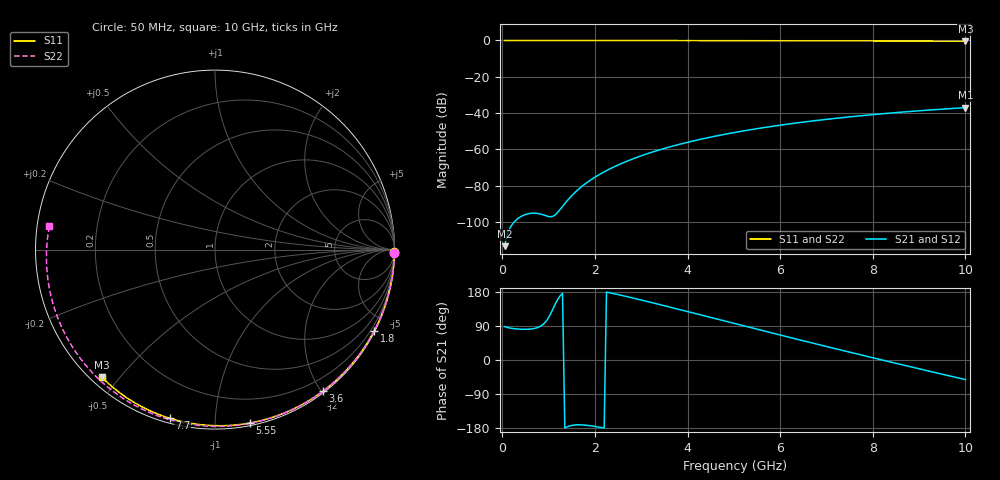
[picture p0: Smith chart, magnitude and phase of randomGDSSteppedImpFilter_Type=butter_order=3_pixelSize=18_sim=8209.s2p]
! freq	dB(S11)	phase(S11)	dB(S12)	phase(S12)
!  dB(S21)	phase(S21)	dB(S22)	phase(S22)
!S-par simulation data
#  GHz  S  DB  R 50
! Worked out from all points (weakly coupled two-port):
!   200 points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, 50 MHz to 10 GHz, reference 50 ohm
!   highest |S21| = -37.02 dB at 10 GHz (marker M1); lowest = -113.3 dB at 50 MHz (marker M2)
!   lowest |S11| = -0.4 dB at 10 GHz (marker M3), VSWR 39.09, Z = 1.54 - j22.5 ohm
!   |S11| at or under -10 dB: nowhere
!   |S22| runs from -0.6 to 0.0 dB; largest |S21 - S12| = 0
!   S11 on the Smith chart (normalised r, x): 50 MHz: open; 1.8 GHz: 0.04, -4.17; 3.6 GHz: 0.02, -2.02; 5.55 GHz: 0.02, -1.22; 7.7 GHz: 0.02, -0.77; 10 GHz: 0.03, -0.45
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0.05  -0.00 -0.8  -113.32 88.0  -113.32 88.0  -0.00 -1.1
0.45  -0.01 -6.8  -96.39 81.0  -96.39 81.0  -0.01 -9.5
0.85  -0.02 -12.9  -95.79 91.1  -95.79 91.1  -0.02 -17.8
1.25  -0.02 -18.8  -93.07 169.4  -93.07 169.4  -0.03 -26.0
1.7  -0.03 -25.5  -80.79 -171.2  -80.79 -171.2  -0.04 -35.2
1.75  -0.03 -26.2  -79.77 -171.5  -79.77 -171.5  -0.05 -36.2
1.8  -0.03 -26.9  -78.80 -172.0  -78.80 -172.0  -0.05 -37.2
2.1  -0.04 -31.3  -73.80 -177.3  -73.80 -177.3  -0.06 -43.2
2.5  -0.05 -37.1  -68.60 172.6  -68.60 172.6  -0.07 -51.2
2.9  -0.06 -42.9  -64.45 161.3  -64.45 161.3  -0.08 -59.0
3.4  -0.07 -49.9  -60.22 146.3  -60.22 146.3  -0.09 -68.6
3.6  -0.07 -52.7  -58.75 140.1  -58.75 140.1  -0.10 -72.3
4.3  -0.09 -62.3  -54.33 118.4  -54.33 118.4  -0.12 -85.3
5.05  -0.11 -72.2  -50.53 95.2  -50.53 95.2  -0.15 -98.9
5.55  -0.13 -78.7  -48.39 79.7  -48.39 79.7  -0.18 -107.7
6.1  -0.15 -85.7  -46.32 62.8  -46.32 62.8  -0.21 -117.3
6.7  -0.18 -93.1  -44.35 44.6  -44.35 44.6  -0.25 -127.7
7.7  -0.24 -105.1  -41.57 14.7  -41.57 14.7  -0.33 -145.1
8.35  -0.29 -112.7  -40.06 -4.4  -40.06 -4.4  -0.40 -156.7
9.2  -0.36 -122.4  -38.36 -28.9  -38.36 -28.9  -0.50 -172.3
9.6  -0.40 -127.0  -37.66 -40.3  -37.66 -40.3  -0.55 180.0
10  -0.44 -131.5  -37.02 -51.7  -37.02 -51.7  -0.61 172.0
